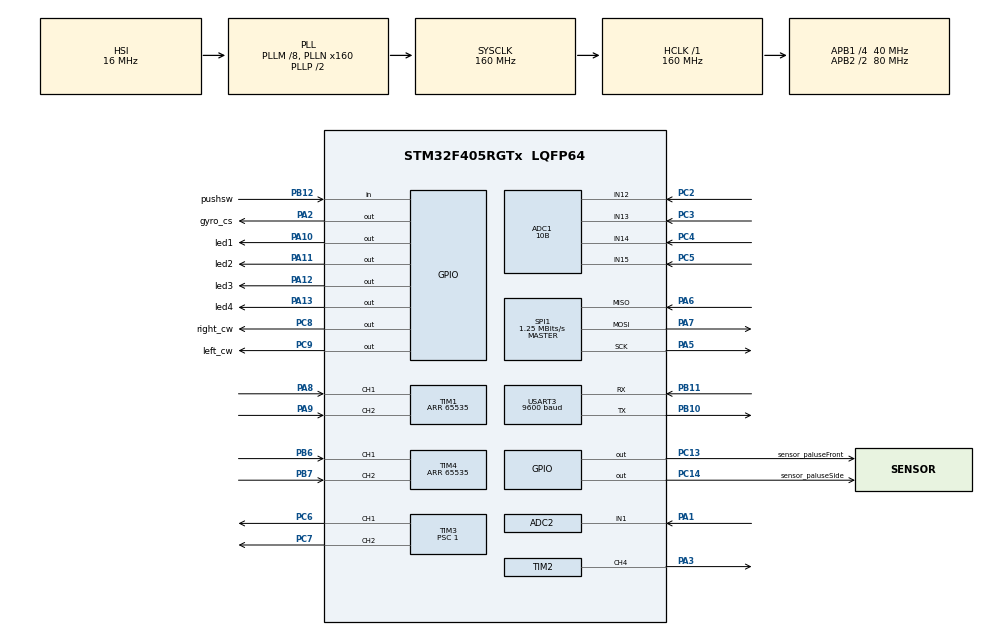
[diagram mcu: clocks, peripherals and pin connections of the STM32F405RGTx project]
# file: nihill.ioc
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ADC1.Channel-0\#ChannelRegularConversion=ADC_CHANNEL_12
ADC1.Channel-1\#ChannelRegularConversion=ADC_CHANNEL_15
ADC1.Channel-2\#ChannelRegularConversion=ADC_CHANNEL_13
ADC1.Channel-3\#ChannelRegularConversion=ADC_CHANNEL_14
ADC1.ContinuousConvMode=ENABLE
ADC1.DMAContinuousRequests=ENABLE
ADC1.NbrOfConversion=4
ADC1.NbrOfConversionFlag=1
ADC1.Rank-0\#ChannelRegularConversion=1
ADC1.Rank-1\#ChannelRegularConversion=2
ADC1.Rank-2\#ChannelRegularConversion=3
ADC1.Rank-3\#ChannelRegularConversion=4
ADC1.Resolution=ADC_RESOLUTION_10B
ADC1.SamplingTime-0\#ChannelRegularConversion=ADC_SAMPLETIME_15CYCLES
ADC1.SamplingTime-1\#ChannelRegularConversion=ADC_SAMPLETIME_15CYCLES
ADC1.SamplingTime-2\#ChannelRegularConversion=ADC_SAMPLETIME_15CYCLES
ADC1.SamplingTime-3\#ChannelRegularConversion=ADC_SAMPLETIME_15CYCLES
ADC1.ScanConvMode=ENABLE
ADC1.master=1
ADC2.Channel-30\#ChannelRegularConversion=ADC_CHANNEL_1
ADC2.ContinuousConvMode=ENABLE
ADC2.NbrOfConversionFlag=1
ADC2.Rank-30\#ChannelRegularConversion=1
ADC2.Resolution=ADC_RESOLUTION_10B
ADC2.SamplingTime-30\#ChannelRegularConversion=ADC_SAMPLETIME_15CYCLES
ADC2.ScanConvMode=ENABLE
Dma.ADC1.0.Direction=DMA_PERIPH_TO_MEMORY
Dma.ADC1.0.FIFOMode=DMA_FIFOMODE_DISABLE
Dma.ADC1.0.Instance=DMA2_Stream4
Dma.ADC1.0.MemDataAlignment=DMA_MDATAALIGN_HALFWORD
Dma.ADC1.0.MemInc=DMA_MINC_ENABLE
Dma.ADC1.0.Mode=DMA_NORMAL
Dma.ADC1.0.PeriphDataAlignment=DMA_PDATAALIGN_HALFWORD
Dma.ADC1.0.PeriphInc=DMA_PINC_DISABLE
Dma.ADC1.0.Priority=DMA_PRIORITY_MEDIUM
Dma.Request0=ADC1
Mcu.Family=STM32F4
Mcu.Name=STM32F405RGTx
Mcu.Package=LQFP64
NVIC.DMA2_Stream4_IRQn=true\:0\:0\:false\:false\:true\:false
NVIC.PriorityGroup=NVIC_PRIORITYGROUP_4
PA1.Signal=ADCx_IN1
PA10.GPIO_Label=led1
PA10.Signal=GPIO_Output
PA11.GPIO_Label=led2
PA11.Signal=GPIO_Output
PA12.GPIO_Label=led3
PA12.Signal=GPIO_Output
PA13.GPIO_Label=led4
PA13.Signal=GPIO_Output
PA2.GPIO_Label=gyro_cs
PA2.Signal=GPIO_Output
PA3.Signal=S_TIM2_CH4
PA5.Mode=Full_Duplex_Master
PA5.Signal=SPI1_SCK
PA6.Mode=Full_Duplex_Master
PA6.Signal=SPI1_MISO
PA7.Mode=Full_Duplex_Master
PA7.Signal=SPI1_MOSI
PA8.Signal=S_TIM1_CH1
PA9.Signal=S_TIM1_CH2
PB10.Mode=Asynchronous
PB10.Signal=USART3_TX
PB11.Mode=Asynchronous
PB11.Signal=USART3_RX
PB12.GPIO_Label=pushsw
PB12.Signal=GPIO_Input
PB6.Signal=S_TIM4_CH1
PB7.Signal=S_TIM4_CH2
PC13-ANTI_TAMP.GPIO_Label=sensor_paluseFront
PC13-ANTI_TAMP.Signal=GPIO_Output
PC14-OSC32_IN.GPIO_Label=sensor_paluseSide
PC14-OSC32_IN.Signal=GPIO_Output
PC2.Signal=ADCx_IN12
PC3.Signal=ADCx_IN13
PC4.Signal=ADCx_IN14
PC5.Signal=ADCx_IN15
PC6.Signal=S_TIM3_CH1
PC7.Signal=S_TIM3_CH2
PC8.GPIO_Label=right_cw
PC8.Signal=GPIO_Output
PC9.GPIO_Label=left_cw
PC9.Signal=GPIO_Output
PH0-OSC_IN.Mode=HSE-External-Oscillator
PH0-OSC_IN.Signal=RCC_OSC_IN
PH1-OSC_OUT.Mode=HSE-External-Oscillator
PH1-OSC_OUT.Signal=RCC_OSC_OUT
ProjectManager.HeapSize=0x200
ProjectManager.StackSize=0x400
ProjectManager.TargetToolchain=Makefile
RCC.48MHZClocksFreq_Value=80000000
RCC.AHBFreq_Value=160000000
RCC.APB1CLKDivider=RCC_HCLK_DIV4
RCC.APB1Freq_Value=40000000
RCC.APB1TimFreq_Value=80000000
RCC.APB2CLKDivider=RCC_HCLK_DIV2
RCC.APB2Freq_Value=80000000
RCC.APB2TimFreq_Value=160000000
RCC.CortexFreq_Value=160000000
RCC.HCLKFreq_Value=160000000
RCC.HSE_VALUE=20000000
RCC.HSI_VALUE=16000000
RCC.LSE_VALUE=32768
RCC.PLLM=8
RCC.PLLN=160
RCC.SYSCLKFreq_VALUE=160000000
RCC.SYSCLKSource=RCC_SYSCLKSOURCE_PLLCLK
RCC.VCOOutputFreq_Value=320000000
SH.ADCx_IN1.0=ADC2_IN1,IN1
SH.ADCx_IN12.0=ADC1_IN12,IN12
SH.ADCx_IN13.0=ADC1_IN13,IN13
SH.ADCx_IN14.0=ADC1_IN14,IN14
SH.ADCx_IN15.0=ADC1_IN15,IN15
SH.S_TIM1_CH1.0=TIM1_CH1,Encoder_Interface
SH.S_TIM1_CH2.0=TIM1_CH2,Encoder_Interface
SH.S_TIM2_CH4.0=TIM2_CH4,PWM Generation4 CH4
SH.S_TIM3_CH1.0=TIM3_CH1,PWM Generation1 CH1
SH.S_TIM3_CH2.0=TIM3_CH2,PWM Generation2 CH2
SH.S_TIM4_CH1.0=TIM4_CH1,Encoder_Interface
SH.S_TIM4_CH2.0=TIM4_CH2,Encoder_Interface
SPI1.BaudRatePrescaler=SPI_BAUDRATEPRESCALER_64
SPI1.CalculateBaudRate=1.25 MBits/s
SPI1.Direction=SPI_DIRECTION_2LINES
SPI1.Mode=SPI_MODE_MASTER
SPI1.VirtualType=VM_MASTER
TIM1.EncoderMode=TIM_ENCODERMODE_TI12
TIM1.Period=65535
TIM2.Channel-PWM\ Generation4\ CH4=TIM_CHANNEL_4
TIM2.Period=99
TIM2.Prescaler=799
TIM3.Channel-PWM\ Generation1\ CH1=TIM_CHANNEL_1
TIM3.Channel-PWM\ Generation2\ CH2=TIM_CHANNEL_2
TIM3.Period=400
TIM3.Prescaler=1
TIM4.EncoderMode=TIM_ENCODERMODE_TI12
TIM4.Period=65535
USART3.BaudRate=9600
USART3.VirtualMode=VM_ASYNC
board=nihill

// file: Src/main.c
/* USER CODE BEGIN Header */
/**
  ******************************************************************************
  * @file           : main.c
  * @brief          : Main program body
  ******************************************************************************
  ** This notice applies to any and all portions of this file
  * that are not between comment pairs USER CODE BEGIN and
  * USER CODE END. Other portions of this file, whether
  * inserted by the user or by software development tools
  * are owned by their respective copyright owners.
  *
  * COPYRIGHT(c) 2018 STMicroelectronics
  *
  * Redistribution and use in source and binary forms, with or without modification,
  * are permitted provided that the following conditions are met:
  *   1. Redistributions of source code must retain the above copyright notice,
  *      this list of conditions and the following disclaimer.
  *   2. Redistributions in binary form must reproduce the above copyright notice,
  *      this list of conditions and the following disclaimer in the documentation
  *      and/or other materials provided with the distribution.
  *   3. Neither the name of STMicroelectronics nor the names of its contributors
  *      may be used to endorse or promote products derived from this software
  *      without specific prior written permission.
  *
  * THIS SOFTWARE IS PROVIDED BY THE COPYRIGHT HOLDERS AND CONTRIBUTORS "AS IS"
  * AND ANY EXPRESS OR IMPLIED WARRANTIES, INCLUDING, BUT NOT LIMITED TO, THE
  * IMPLIED WARRANTIES OF MERCHANTABILITY AND FITNESS FOR A PARTICULAR PURPOSE ARE
  * DISCLAIMED. IN NO EVENT SHALL THE COPYRIGHT HOLDER OR CONTRIBUTORS BE LIABLE
  * FOR ANY DIRECT, INDIRECT, INCIDENTAL, SPECIAL, EXEMPLARY, OR CONSEQUENTIAL
  * DAMAGES (INCLUDING, BUT NOT LIMITED TO, PROCUREMENT OF SUBSTITUTE GOODS OR
  * SERVICES; LOSS OF USE, DATA, OR PROFITS; OR BUSINESS INTERRUPTION) HOWEVER
  * CAUSED AND ON ANY THEORY OF LIABILITY, WHETHER IN CONTRACT, STRICT LIABILITY,
  * OR TORT (INCLUDING NEGLIGENCE OR OTHERWISE) ARISING IN ANY WAY OUT OF THE USE
  * OF THIS SOFTWARE, EVEN IF ADVISED OF THE POSSIBILITY OF SUCH DAMAGE.
  *
  ******************************************************************************
  */
/* USER CODE END Header */

#include "main.h"
#include "adc.h"
#include "dma.h"
#include "spi.h"
#include "tim.h"
#include "usart.h"
#include "gpio.h"

/* USER CODE BEGIN Includes */
#include <stdio.h>
#include <stdint.h>

#include "variable.h"
#include "function.h"
#include "led.h"
#include "buzzer.h"

#include "run.h"

#include "mode.h"

#ifdef __GNUC__
#define PUTCHAR_PROTOTYPE int __io_putchar(int ch)
#else
#define PUTCHAR_PROTOTYPE int fputc(int ch, FILE *f)
#endif /* __GNUC__ */
void __io_putchar(uint8_t ch) {
HAL_UART_Transmit(&huart3, &ch, 1, 1);
}
/* USER CODE END Includes */

/* USER CODE BEGIN PV */
/* Private variables ---------------------------------------------------------*/

/* USER CODE END PV */

void SystemClock_Config(void);
/* USER CODE BEGIN PFP */
/* Private function prototypes -----------------------------------------------*/

/* USER CODE END PFP */

int main(void)
{

  /* MCU Configuration--------------------------------------------------------*/

  /* Reset of all peripherals, Initializes the Flash interface and the Systick. */
  HAL_Init();

  /* Configure the system clock */
  SystemClock_Config();

  /* Initialize all configured peripherals */
  MX_GPIO_Init();
  MX_DMA_Init();
  MX_ADC1_Init();
  MX_SPI1_Init();
  MX_TIM4_Init();
  MX_USART3_UART_Init();
  MX_TIM2_Init();
  MX_TIM1_Init();
  MX_TIM3_Init();
  MX_ADC2_Init();
  /* USER CODE BEGIN 2 */
  machine_init();
  cnt_act = 0;
  //setIrledPwm( IRLED_ON );
  /* USER CODE END 2 */

  /* Infinite loop */
  while (1)
  {

    /* USER CODE BEGIN 3 */
    printf( "gyro z : %5.5f, batt_voltage : %2.3f\r",rotation_real.velocity, batt_monitor);

    if ( mode_distance > 30.0f ){
      mode_counter++;
      mode_distance = 0.0f;
      if ( mode_counter > 8 ) mode_counter = 0;
      buzzermodeSelect( mode_counter );
      certainLedOut( mode_counter );
      waitMotion( 300 );
    }

    if ( mode_distance < -30.0f ){
      mode_counter--;
      mode_distance = 0.0f;
      if ( mode_counter < 0 ) mode_counter = 8;
      buzzermodeSelect( mode_counter );
      certainLedOut( mode_counter );
      waitMotion( 300 );
    }

    if ( getPushsw() ){
      modeSelect( mode_counter );
    }

    if ( batt_monitor < 3.4f ){
      while( 1 ){
        certainLedOut( 0x01 );
        waitMotion( 1000 );
        certainLedOut( LED_OFF );
        waitMotion( 1000 );
      }
    }
  //#endif
  }

  /* USER CODE END 3 */
}

void SystemClock_Config(void)
{
  RCC_OscInitTypeDef RCC_OscInitStruct = {0};
  RCC_ClkInitTypeDef RCC_ClkInitStruct = {0};

  /**Configure the main internal regulator output voltage
  */
  __HAL_RCC_PWR_CLK_ENABLE();
  __HAL_PWR_VOLTAGESCALING_CONFIG(PWR_REGULATOR_VOLTAGE_SCALE1);
  /**Initializes the CPU, AHB and APB busses clocks
  */
  RCC_OscInitStruct.OscillatorType = RCC_OSCILLATORTYPE_HSI;
  RCC_OscInitStruct.HSIState = RCC_HSI_ON;
  RCC_OscInitStruct.HSICalibrationValue = RCC_HSICALIBRATION_DEFAULT;
  RCC_OscInitStruct.PLL.PLLState = RCC_PLL_ON;
  RCC_OscInitStruct.PLL.PLLSource = RCC_PLLSOURCE_HSI;
  RCC_OscInitStruct.PLL.PLLM = 8;
  RCC_OscInitStruct.PLL.PLLN = 160;
  RCC_OscInitStruct.PLL.PLLP = RCC_PLLP_DIV2;
  RCC_OscInitStruct.PLL.PLLQ = 4;
  if (HAL_RCC_OscConfig(&RCC_OscInitStruct) != HAL_OK)
  {
    Error_Handler();
  }
  /**Initializes the CPU, AHB and APB busses clocks
  */
  RCC_ClkInitStruct.ClockType = RCC_CLOCKTYPE_HCLK|RCC_CLOCKTYPE_SYSCLK
                              |RCC_CLOCKTYPE_PCLK1|RCC_CLOCKTYPE_PCLK2;
  RCC_ClkInitStruct.SYSCLKSource = RCC_SYSCLKSOURCE_PLLCLK;
  RCC_ClkInitStruct.AHBCLKDivider = RCC_SYSCLK_DIV1;
  RCC_ClkInitStruct.APB1CLKDivider = RCC_HCLK_DIV4;
  RCC_ClkInitStruct.APB2CLKDivider = RCC_HCLK_DIV2;

  if (HAL_RCC_ClockConfig(&RCC_ClkInitStruct, FLASH_LATENCY_5) != HAL_OK)
  {
    Error_Handler();
  }
}

void Error_Handler(void)
{
  while(1)
  {
  }
}

/************************ (C) COPYRIGHT STMicroelectronics *****END OF FILE****/
